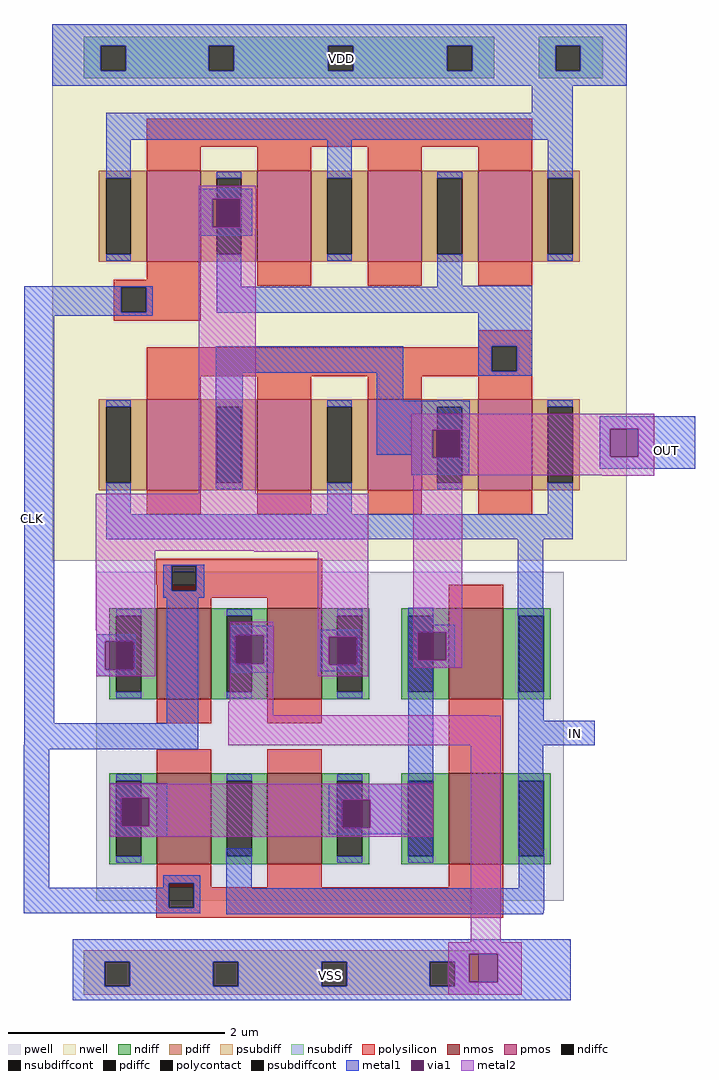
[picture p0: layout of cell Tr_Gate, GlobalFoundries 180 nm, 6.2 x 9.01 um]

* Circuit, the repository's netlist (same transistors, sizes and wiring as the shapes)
** sch_path: /home/moya/Documents/EuroCDP/ms_IPs/PLL/PLL-main/schematic/xschem/TR_Gate.sch
**.subckt TR_Gate OUT VDD VSS IN CLK
*.iopin VDD
*.iopin VSS
*.ipin IN
*.opin OUT
*.ipin CLK
XM1 IN net1 OUT VDD pfet_03v3 L=0.5u W=3.36u nf=1 ad='int((nf+1)/2) * W/nf * 0.18u' as='int((nf+2)/2) * W/nf * 0.18u' pd='2*int((nf+1)/2) * (W/nf + 0.18u)'
+ ps='2*int((nf+2)/2) * (W/nf + 0.18u)' nrd='0.18u / W' nrs='0.18u / W' sa=0 sb=0 sd=0 m=1
XM2 IN CLK OUT VSS nfet_03v3 L=0.5u W=3.36u nf=1 ad='int((nf+1)/2) * W/nf * 0.18u' as='int((nf+2)/2) * W/nf * 0.18u' pd='2*int((nf+1)/2) * (W/nf + 0.18u)'
+ ps='2*int((nf+2)/2) * (W/nf + 0.18u)' nrd='0.18u / W' nrs='0.18u / W' sa=0 sb=0 sd=0 m=1
XM3 net1 CLK VDD VDD pfet_03v3 L=0.5u W=3.36u nf=1 ad='int((nf+1)/2) * W/nf * 0.18u' as='int((nf+2)/2) * W/nf * 0.18u' pd='2*int((nf+1)/2) * (W/nf + 0.18u)'
+ ps='2*int((nf+2)/2) * (W/nf + 0.18u)' nrd='0.18u / W' nrs='0.18u / W' sa=0 sb=0 sd=0 m=1
XM4 net1 CLK VSS VSS nfet_03v3 L=0.5u W=1.68u nf=1 ad='int((nf+1)/2) * W/nf * 0.18u' as='int((nf+2)/2) * W/nf * 0.18u' pd='2*int((nf+1)/2) * (W/nf + 0.18u)'
+ ps='2*int((nf+2)/2) * (W/nf + 0.18u)' nrd='0.18u / W' nrs='0.18u / W' sa=0 sb=0 sd=0 m=1
**.ends
.end

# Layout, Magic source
magic
tech gf180mcuD
magscale 1 10
<< nwell >>
rect 0 428 1060 569
rect 815 342 870 380
rect 397 -180 398 -151
rect 600 -242 725 -89
rect 145 -341 916 -337
<< pwell >>
rect 205 -475 206 -466
rect 217 -480 269 -442
rect 609 -1050 620 -442
<< pmos >>
rect 662 -180 663 -151
<< psubdiff >>
rect 58 -1162 787 -1141
rect 58 -1208 97 -1162
rect 143 -1208 297 -1162
rect 343 -1208 497 -1162
rect 543 -1208 697 -1162
rect 743 -1208 787 -1162
rect 58 -1223 787 -1208
<< nsubdiff >>
rect 58 529 816 545
rect 58 483 89 529
rect 135 483 289 529
rect 335 483 509 529
rect 555 483 729 529
rect 775 483 816 529
rect 58 469 816 483
rect 898 529 1016 545
rect 898 483 929 529
rect 975 483 1016 529
rect 898 469 1016 483
<< psubdiffcont >>
rect 97 -1208 143 -1162
rect 297 -1208 343 -1162
rect 497 -1208 543 -1162
rect 697 -1208 743 -1162
<< nsubdiffcont >>
rect 89 483 135 529
rect 289 483 335 529
rect 509 483 555 529
rect 729 483 775 529
rect 929 483 975 529
<< polysilicon >>
rect 174 342 886 394
rect 113 89 174 97
rect 113 83 274 89
rect 113 37 127 83
rect 173 37 274 83
rect 113 21 274 37
rect 786 -26 886 4
rect 786 -28 811 -26
rect 174 -72 811 -28
rect 857 -72 886 -26
rect 174 -81 886 -72
rect 192 -431 498 -418
rect 192 -466 220 -431
rect 205 -477 220 -466
rect 266 -466 498 -431
rect 266 -477 478 -466
rect 204 -490 478 -477
rect 490 -490 498 -466
rect 732 -770 832 -722
rect 212 -1017 264 -1016
rect 212 -1025 215 -1017
rect 192 -1063 215 -1025
rect 261 -1025 264 -1017
rect 261 -1063 832 -1025
rect 192 -1081 832 -1063
<< polycontact >>
rect 127 37 173 83
rect 811 -72 857 -26
rect 220 -477 266 -431
rect 215 -1063 261 -1017
<< metal1 >>
rect 0 529 1060 569
rect 0 483 89 529
rect 135 483 289 529
rect 335 483 509 529
rect 555 483 729 529
rect 775 483 929 529
rect 975 483 1060 529
rect 0 455 1060 483
rect 885 405 961 455
rect 99 355 961 405
rect 99 285 145 355
rect 507 285 553 355
rect 915 285 961 355
rect 270 246 369 265
rect 270 194 295 246
rect 347 194 369 246
rect 270 178 369 194
rect -52 83 185 85
rect -52 37 127 83
rect 173 37 185 83
rect -52 30 185 37
rect 303 84 349 132
rect 711 86 757 132
rect 711 84 886 86
rect 303 36 886 84
rect -52 -722 3 30
rect 786 -26 886 36
rect 302 -75 648 -26
rect 302 -288 351 -75
rect 599 -127 648 -75
rect 786 -72 811 -26
rect 857 -72 886 -26
rect 786 -80 886 -72
rect 599 -180 771 -127
rect 599 -226 701 -180
rect 663 -232 701 -226
rect 753 -195 771 -180
rect 1011 -178 1187 -155
rect 753 -232 770 -195
rect 663 -263 770 -232
rect 1011 -230 1030 -178
rect 1082 -230 1187 -178
rect 1011 -252 1187 -230
rect 99 -336 145 -290
rect 507 -336 553 -290
rect 915 -336 961 -290
rect 99 -382 961 -336
rect 205 -431 280 -429
rect 205 -477 220 -431
rect 266 -477 280 -431
rect 205 -490 280 -477
rect 81 -571 154 -558
rect 81 -623 98 -571
rect 150 -623 154 -571
rect 81 -635 154 -623
rect 211 -722 269 -490
rect 657 -540 703 -509
rect 329 -560 409 -542
rect 329 -612 338 -560
rect 390 -612 409 -560
rect 329 -629 409 -612
rect 494 -562 567 -549
rect 494 -614 510 -562
rect 562 -614 567 -562
rect 494 -626 567 -614
rect 657 -554 743 -540
rect 657 -606 675 -554
rect 727 -606 743 -554
rect 657 -620 743 -606
rect -52 -762 269 -722
rect -53 -770 269 -762
rect -53 -1026 -6 -770
rect 106 -860 212 -833
rect 657 -834 703 -620
rect 859 -665 906 -382
rect 859 -667 907 -665
rect 106 -912 127 -860
rect 179 -912 212 -860
rect 106 -932 212 -912
rect 510 -863 703 -834
rect 510 -915 535 -863
rect 587 -915 703 -863
rect 510 -927 703 -915
rect 205 -1017 273 -1003
rect 205 -1026 215 -1017
rect -53 -1063 215 -1026
rect 261 -1063 273 -1017
rect -53 -1073 273 -1063
rect 321 -1027 368 -953
rect 657 -977 703 -927
rect 860 -717 907 -667
rect 860 -763 1001 -717
rect 860 -953 906 -763
rect 861 -1027 908 -954
rect 321 -1067 908 -1027
rect 321 -1072 907 -1067
rect 321 -1075 906 -1072
rect 38 -1148 957 -1121
rect 38 -1162 770 -1148
rect 38 -1208 97 -1162
rect 143 -1208 297 -1162
rect 343 -1208 497 -1162
rect 543 -1208 697 -1162
rect 743 -1200 770 -1162
rect 822 -1200 957 -1148
rect 743 -1208 957 -1200
rect 38 -1233 957 -1208
<< via1 >>
rect 295 194 347 246
rect 701 -232 753 -180
rect 1030 -230 1082 -178
rect 98 -623 150 -571
rect 338 -612 390 -560
rect 510 -614 562 -562
rect 675 -606 727 -554
rect 127 -912 179 -860
rect 535 -915 587 -863
rect 770 -1200 822 -1148
<< metal2 >>
rect 270 265 375 270
rect 270 246 376 265
rect 270 194 295 246
rect 347 194 376 246
rect 270 191 376 194
rect 270 -298 375 191
rect 663 -178 1111 -151
rect 663 -180 1030 -178
rect 663 -232 701 -180
rect 753 -230 1030 -180
rect 1082 -230 1111 -178
rect 753 -232 1111 -230
rect 663 -264 1111 -232
rect 80 -404 583 -298
rect 80 -550 190 -404
rect 373 -405 583 -404
rect 81 -571 190 -550
rect 81 -623 98 -571
rect 150 -623 190 -571
rect 81 -635 190 -623
rect 327 -542 408 -535
rect 327 -560 409 -542
rect 327 -612 338 -560
rect 390 -612 409 -560
rect 327 -629 409 -612
rect 490 -562 583 -405
rect 490 -614 510 -562
rect 562 -614 583 -562
rect 327 -682 408 -629
rect 490 -635 583 -614
rect 666 -554 757 -264
rect 1015 -265 1111 -264
rect 666 -606 675 -554
rect 727 -606 757 -554
rect 666 -620 757 -606
rect 325 -707 408 -682
rect 325 -708 807 -707
rect 325 -763 828 -708
rect 106 -860 703 -834
rect 106 -912 127 -860
rect 179 -863 703 -860
rect 179 -912 535 -863
rect 106 -915 535 -912
rect 587 -915 703 -863
rect 106 -932 703 -915
rect 772 -1126 828 -763
rect 731 -1148 867 -1126
rect 731 -1200 770 -1148
rect 822 -1200 867 -1148
rect 731 -1223 867 -1200
use nmos_3p3_UKFAHE  nmos_3p3_UKFAHE_0
transform 1 0 243 0 1 -898
box -162 -152 162 152
use nmos_3p3_UKFAHE  nmos_3p3_UKFAHE_1
transform 1 0 447 0 1 -898
box -162 -152 162 152
use nmos_3p3_UKFAHE  nmos_3p3_UKFAHE_2
transform 1 0 782 0 1 -594
box -162 -152 162 152
use nmos_3p3_UKFAHE  nmos_3p3_UKFAHE_3
transform 1 0 782 0 1 -898
box -162 -152 162 152
use nmos_3p3_UKFAHE  nmos_3p3_UKFAHE_4
transform 1 0 447 0 1 -594
box -162 -152 162 152
use nmos_3p3_UKFAHE  nmos_3p3_UKFAHE_5
transform 1 0 243 0 1 -594
box -162 -152 162 152
use pmos_3p3_YMKZL5  pmos_3p3_YMKZL5_0
transform 1 0 428 0 1 -208
box -224 -214 224 214
use pmos_3p3_YMKZL5  pmos_3p3_YMKZL5_1
transform 1 0 632 0 1 -208
box -224 -214 224 214
use pmos_3p3_YMKZL5  pmos_3p3_YMKZL5_2
transform 1 0 836 0 1 -208
box -224 -214 224 214
use pmos_3p3_YMKZL5  pmos_3p3_YMKZL5_3
transform 1 0 224 0 1 -208
box -224 -214 224 214
use pmos_3p3_YMKZL5  pmos_3p3_YMKZL5_4
transform 1 0 836 0 1 214
box -224 -214 224 214
use pmos_3p3_YMKZL5  pmos_3p3_YMKZL5_5
transform 1 0 632 0 1 214
box -224 -214 224 214
use pmos_3p3_YMKZL5  pmos_3p3_YMKZL5_6
transform 1 0 428 0 1 214
box -224 -214 224 214
use pmos_3p3_YMKZL5  pmos_3p3_YMKZL5_7
transform 1 0 224 0 1 214
box -224 -214 224 214
<< labels >>
flabel psubdiffcont 514 -1187 514 -1187 0 FreeSans 750 0 0 0 VSS
flabel nsubdiffcont 533 506 533 506 0 FreeSans 1000 0 0 0 VDD
flabel metal1 s 1133 -218 1133 -218 0 FreeSans 750 0 0 0 OUT
port 1 nsew
flabel metal1 s 966 -741 966 -741 0 FreeSans 750 0 0 0 IN
port 2 nsew
flabel metal1 s -37 -344 -37 -344 0 FreeSans 750 0 0 0 CLK
port 3 nsew
<< end >>

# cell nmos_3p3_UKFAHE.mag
magic
tech gf180mcuD
magscale 1 10
<< pwell >>
rect -162 -152 162 152
<< nmos >>
rect -50 -84 50 84
<< ndiff >>
rect -138 70 -50 84
rect -138 -70 -125 70
rect -79 -70 -50 70
rect -138 -84 -50 -70
rect 50 70 138 84
rect 50 -70 79 70
rect 125 -70 138 70
rect 50 -84 138 -70
<< ndiffc >>
rect -125 -70 -79 70
rect 79 -70 125 70
<< polysilicon >>
rect -50 84 50 128
rect -50 -128 50 -84
<< metal1 >>
rect -125 70 -79 82
rect -125 -82 -79 -70
rect 79 70 125 82
rect 79 -82 125 -70
<< end >>

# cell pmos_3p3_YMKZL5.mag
magic
tech gf180mcuD
magscale 1 10
<< nwell >>
rect -224 -214 224 214
<< pmos >>
rect -50 -84 50 84
<< pdiff >>
rect -138 70 -50 84
rect -138 -70 -125 70
rect -79 -70 -50 70
rect -138 -84 -50 -70
rect 50 70 138 84
rect 50 -70 79 70
rect 125 -70 138 70
rect 50 -84 138 -70
<< pdiffc >>
rect -125 -70 -79 70
rect 79 -70 125 70
<< polysilicon >>
rect -50 84 50 128
rect -50 -128 50 -84
<< metal1 >>
rect -125 70 -79 82
rect -125 -82 -79 -70
rect 79 70 125 82
rect 79 -82 125 -70
<< end >>
